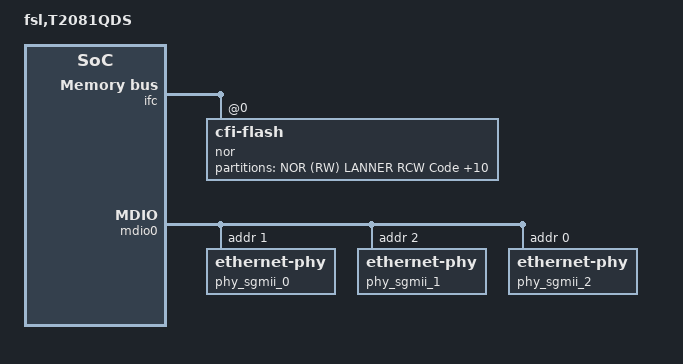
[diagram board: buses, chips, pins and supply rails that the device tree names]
/*
 * T2081QDS Device Tree Source
 *
 * Copyright 2013 Freescale Semiconductor Inc.
 *
 * Redistribution and use in source and binary forms, with or without
 * modification, are permitted provided that the following conditions are met:
 *     * Redistributions of source code must retain the above copyright
 *	 notice, this list of conditions and the following disclaimer.
 *     * Redistributions in binary form must reproduce the above copyright
 *	 notice, this list of conditions and the following disclaimer in the
 *	 documentation and/or other materials provided with the distribution.
 *     * Neither the name of Freescale Semiconductor nor the
 *	 names of its contributors may be used to endorse or promote products
 *	 derived from this software without specific prior written permission.
 *
 *
 * ALTERNATIVELY, this software may be distributed under the terms of the
 * GNU General Public License ("GPL") as published by the Free Software
 * Foundation, either version 2 of that License or (at your option) any
 * later version.
 *
 * THIS SOFTWARE IS PROVIDED BY Freescale Semiconductor "AS IS" AND ANY
 * EXPRESS OR IMPLIED WARRANTIES, INCLUDING, BUT NOT LIMITED TO, THE IMPLIED
 * WARRANTIES OF MERCHANTABILITY AND FITNESS FOR A PARTICULAR PURPOSE ARE
 * DISCLAIMED. IN NO EVENT SHALL Freescale Semiconductor BE LIABLE FOR ANY
 * DIRECT, INDIRECT, INCIDENTAL, SPECIAL, EXEMPLARY, OR CONSEQUENTIAL DAMAGES
 * (INCLUDING, BUT NOT LIMITED TO, PROCUREMENT OF SUBSTITUTE GOODS OR SERVICES;
 * LOSS OF USE, DATA, OR PROFITS; OR BUSINESS INTERRUPTION) HOWEVER CAUSED AND
 * ON ANY THEORY OF LIABILITY, WHETHER IN CONTRACT, STRICT LIABILITY, OR TORT
 * (INCLUDING NEGLIGENCE OR OTHERWISE) ARISING IN ANY WAY OUT OF THE USE OF THIS
 * SOFTWARE, EVEN IF ADVISED OF THE POSSIBILITY OF SUCH DAMAGE.
 */

/include/ "fsl/m300-pre.dtsi"
/include/ "m300.dtsi"

/ {
	model = "fsl,T2081QDS";
	compatible = "fsl,T2081QDS";
	#address-cells = <2>;
	#size-cells = <2>;
	interrupt-parent = <&mpic>;

	aliases {
		phy_sgmii_0 = &phy_sgmii_0;
		phy_sgmii_1 = &phy_sgmii_1;
		phy_sgmii_2 = &phy_sgmii_2;
	};

	ifc: localbus@ffe124000 {
		reg = <0xf 0xfe124000 0 0x2000>;
		ranges = <0 0 0xf 0xefc00000 0x00400000>;

		nor@0,0 {
			#address-cells = <1>;
			#size-cells = <1>;
			compatible = "cfi-flash";
			reg = <0x0 0x0 0x400000>;
			bank-width = <2>;
			device-width = <1>;

			partition@00000000 {
				/*64KB*/
				reg = <0x00000000 0x00010000>;
				label = "NOR (RW) LANNER RCW Code";
			};

			partition@00010000 {
				/*128KB*/
				reg = <0x00010000 0x00020000>;
				label = "NOR (RW) WG CFG0";
			};

			partition@00030000 {
				/*64KB*/
				reg = <0x00030000 0x00010000>;
				label = "NOR (RW) WG CFG1";
			};

			partition@00040000 {
				/*64KB*/
				reg = <0x00040000 0x00010000>;
				label = "NOR (RW) WG MFG DATA";
			};

			partition@00050000 {
				/*704KB*/
				reg = <0x00050000 0x000B0000>;
				label = "NOR (RW) WG bootOpt Data & reserved";
			};

			partition@00100000 {
				/*704KB*/
				reg = <0x00100000 0x000B0000>;
				label = "NOR (RW) WG extra reserved 1";
			};

			partition@001B0000 {
				/*64KB*/
				reg = <0x001B0000 0x000B0000>;
				label = "NOR (RW) WG extra reserved 2";
			};

			partition@00260000 {
				/*768KB*/
				reg = <0x00260000 0x000C0000>;
				label = "NOR (RW) WG U-Boot FAILSAFE";
			};

			partition@00320000 {
				/*64KB*/
				reg = <0x00320000 0x00010000>;
				label = "NOR (RW) FMAN";
			};

			partition@00330000 {
				/*64KB*/
				reg = <0x00330000 0x00010000>;
				label = "NOR (RW) WG U-Boot ENV";
			};

			partition@00340000 {
				/*768KB*/
				reg = <0x00340000 0x000C0000>;
				label = "NOR (RW) WG U-Boot Image";
			};

		};

	};

};

&soc {
	fman0: fman@400000 {
		fm1mac1: ethernet@e0000 { /* DTSEC1 */
			phy-handle = <&phy_sgmii_0>;
			phy-connection-type = "sgmii";
		};

		fm1mac2: ethernet@e2000 { /* DTSEC2 */
			phy-handle = <&phy_sgmii_1>;
			phy-connection-type = "sgmii";
		};

		fm1mac3: ethernet@e4000 {
			fixed-link = <0x10 1 1000 0 0>;
			phy-connection-type = "rgmii";
		};

		fm1mac4: ethernet@e6000 {
			fixed-link = <4 1 1000 0 0>;
			phy-connection-type = "rgmii";
		};

		fm1mac10: ethernet@f2000 { 
			phy-handle = <&phy_sgmii_2>;
			phy-connection-type = "sgmii";
		};

		mdio0: mdio@fc000 {
                                phy_sgmii_0: ethernet-phy@01 {
                                        reg = <0x01>;
                                };      
                                phy_sgmii_1: ethernet-phy@02 {
                                        reg = <0x02>;
                                };      
                                phy_sgmii_2: ethernet-phy@03 {
                                        reg = <0x00>;
                                }; 
		};

	};
};


/include/ "fsl/m300-post.dtsi"
/include/ "fsl/qoriq-dpaa-res3.dtsi"
/include/ "fsl/qoriq-qman-ceetm0.dtsi"
